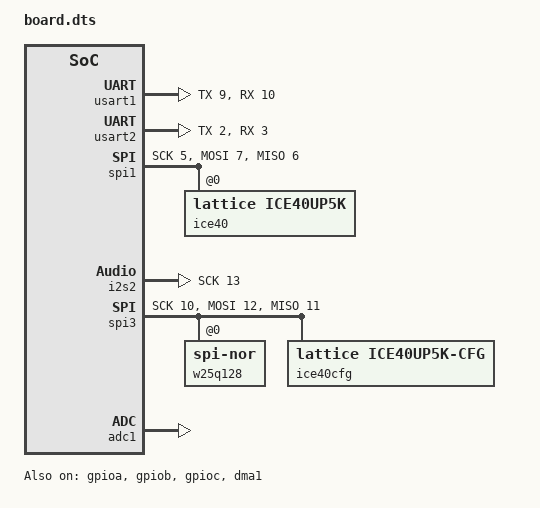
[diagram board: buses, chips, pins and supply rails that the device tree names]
/* STM32F411RE + iCE40UP5K PPU board */

/ {
    clocks {
        hsi: hsi {
            compatible = "fixed-clock";
            clock-frequency = <16000000>;
        };

        /* HSE = 8 MHz crystal on PH0 (OSC_IN) / PH1 (OSC_OUT) + 2x 15 pF loads
         * (see pcb/BOM.md §9). Added so the BT830 HCI UART doesn't ride the HSI's
         * +/-4%-over-temp error (framing gets marginal hot). The RTOS clock init
         * must switch the PLL source HSI -> HSE; this node is just the pin map. */
        hse: hse {
            compatible = "fixed-clock";
            clock-frequency = <8000000>;
        };
    };

    chosen {
        /* NUCLEO bring-up board: console on USART2 (PA2/PA3), because the Nucleo's
         * ST-Link virtual COM port (/dev/ttyACM0) is hard-wired to those pins.
         * gb2 (the custom board) swaps the two UARTs for routing (2026-10-10, see
         * pcb/BOM.md "Pinout notes" #2): console = USART1 (PA9/PA10 -> header J2),
         * BT830 HCI = USART2 (PA2 TX / PA3 RX / PA0 CTS / PA1 RTS), battery ADC moved
         * PA0 -> PC0 (ADC1_IN10), BT_EN PC1 -> PC7, buck-boost PS/SYNC PC7 -> PC3,
         * /CHG PC2 -> PC1 (EXTI1),
         * /PGOOD PC3 -> PC2 (EXTI2),
         * FPGA configuration moves OFF SPI3 onto SPI1 (2026-10-12): SPI1 SCK PA5 /
         * MOSI PA7 + select PA4 -> iCE40 SPI_SCK/SI/SS (pins 15/17/16); after
         * configuration the same pins are the PPU command bus, with the select
         * ACTIVE-HIGH (it idles low with the 3.3k SS_B strap). PB6 is spare; SPI3
         * serves only the W25Q128. fpga_load_bitstream() must run SPI1 fast
         * (several MHz) while streaming the bitstream and drop back to the slow
         * runtime rate (br = 5) afterwards - at ~250 kHz a ~104 KB bitstream
         * would take ~3.3 s.
         * IMU INT1 PB10 -> PB5 (EXTI5), I2C1 SDA PB9 -> PB7
         * (SCL stays PB8); right-grip buttons direct on GPIO (internal pull-ups):
         * R=PB9, Vol+=PB4, A=PB3, Vol-=PA15, B=PB14 (PB3 = SWO: no SWO trace on gb2);
         * left-grip buttons on the PCA9555 port 0 (POLLED over I2C: its INT is not
         * connected, PA11 is spare). gb2
         * needs its own board config; this
         * file stays the Nucleo map. (Bluetooth can't run on the Nucleo's PA2/PA3
         * without opening its VCP solder bridges.) */
        console = <&usart2>;
    };

    soc {
        rcc: rcc@40023800 {
            compatible = "st,stm32-rcc";
            reg = <0x40023800>;
        };

        gpioa: gpio@40020000 {
            compatible = "st,stm32-gpio";
            reg = <0x40020000>;
            clocks = <&rcc 0 0>;
            status = "okay";
        };

        gpiob: gpio@40020400 {
            compatible = "st,stm32-gpio";
            reg = <0x40020400>;
            clocks = <&rcc 0 1>;
            status = "okay";
        };

        gpioc: gpio@40020800 {
            compatible = "st,stm32-gpio";
            reg = <0x40020800>;
            clocks = <&rcc 0 2>;
            exti-irqs = <6 7 8 9 10 23 40>;
            status = "okay";
        };

        /* USART1 (PA9=TX, PA10=RX). On gb2 this is the CONSOLE (header J2); the
         * BT830 HCI link is on USART2 there (see the chosen{} note above). */
        usart1: serial@40011000 {
            compatible = "st,stm32-usart";
            reg = <0x40011000>;
            clocks = <&rcc 2 4>;
            tx-pin = <9>;
            tx-af = <7>;
            tx-port = <&gpioa>;
            rx-pin = <10>;
            rx-af = <7>;
            rx-port = <&gpioa>;
            baudrate = <115200>;
            irq = <37>;
            status = "okay";
        };

        /* USART2 -> Nucleo ST-Link virtual COM port (/dev/ttyACM0). Bring-up
         * console (see chosen/console TODO above). PA2=TX, PA3=RX, AF7, APB1. */
        usart2: serial@40004400 {
            compatible = "st,stm32-usart";
            reg = <0x40004400>;
            clocks = <&rcc 1 17>;   /* APB1 bit 17 = USART2EN */
            tx-pin = <2>;
            tx-af = <7>;
            tx-port = <&gpioa>;
            rx-pin = <3>;
            rx-af = <7>;
            rx-port = <&gpioa>;
            baudrate = <115200>;
            irq = <38>;             /* USART2 global interrupt */
            status = "okay";
        };

        /* SPI1: game data to iCE40 PPU (mode 0, MSB first) */
        spi1: spi@40013000 {
            compatible = "st,stm32-spi";
            reg = <0x40013000>;
            clocks = <&rcc 2 12>;
            br = <5>;               /* fPCLK/64 -> ~250 kHz. The FPGA PPU command
                                     * slave (spi_cmd.v) oversamples with a
                                     * debounced edge detector and can't track
                                     * multi-MHz SCK. (The ground-flash tearing was
                                     * NOT this bus — it was a sprite_table
                                     * double-buffer torn-read, now fixed.) */
            sck-port = <&gpioa>;
            sck-pin = <5>;
            sck-af = <5>;
            miso-port = <&gpioa>;
            miso-pin = <6>;
            miso-af = <5>;
            mosi-port = <&gpioa>;
            mosi-pin = <7>;
            mosi-af = <5>;
            cs-port = <&gpioa>;
            cs-pin = <4>;
            status = "okay";

            ice40: ppu@0 {
                compatible = "lattice,ice40up5k";
                status = "okay";
            };
        };

        /* SPI2/I2S2: audio DAC (unchanged from gameboy) */
        i2s2: i2s@40003800 {
            compatible = "st,stm32-i2s";
            reg = <0x40003800>;
            clocks = <&rcc 1 14>;
            ws-port = <0x40020400>;
            ws-pin = <12>;
            sck-port = <0x40020400>;
            sck-pin = <13>;
            sd-port = <0x40020400>;
            sd-pin = <15>;
            af = <5>;
            status = "okay";
        };

        /* SPI3: FPGA bitstream configuration + W25Q128 flash */
        spi3: spi@40003C00 {
            compatible = "st,stm32-spi";
            reg = <0x40003C00>;
            clocks = <&rcc 1 15>;
            sck-port = <&gpioc>;
            sck-pin = <10>;
            sck-af = <6>;
            miso-port = <&gpioc>;
            miso-pin = <11>;
            miso-af = <6>;
            mosi-port = <&gpioc>;
            mosi-pin = <12>;
            mosi-af = <6>;
            cs-port = <&gpiob>;
            cs-pin = <0>;
            status = "okay";

            w25q128: flash@0 {
                compatible = "jedec,spi-nor";
                size = <134217728>;
                page-size = <256>;
                sector-size = <4096>;
                status = "okay";
            };

            ice40cfg: ice40-cfg {
                compatible = "lattice,ice40up5k-cfg";
                creset-port = <&gpiob>;
                creset-pin = <1>;
                cdone-port = <&gpiob>;
                cdone-pin = <2>;
                ss-port = <&gpiob>;
                ss-pin = <6>;
                status = "okay";
            };
        };

        dma1: dma@40026000 {
            compatible = "st,stm32-dma";
            reg = <0x40026000>;
            clocks = <&rcc 0 21>;
            irqs = <11 12 13 14 15 16 17>;
            status = "okay";
        };

        adc1: adc@40012000 {
            compatible = "st,stm32-adc";
            reg = <0x40012000>;
            clocks = <&rcc 2 8>;
            channel = <0>;
            status = "okay";
        };
    };
};
